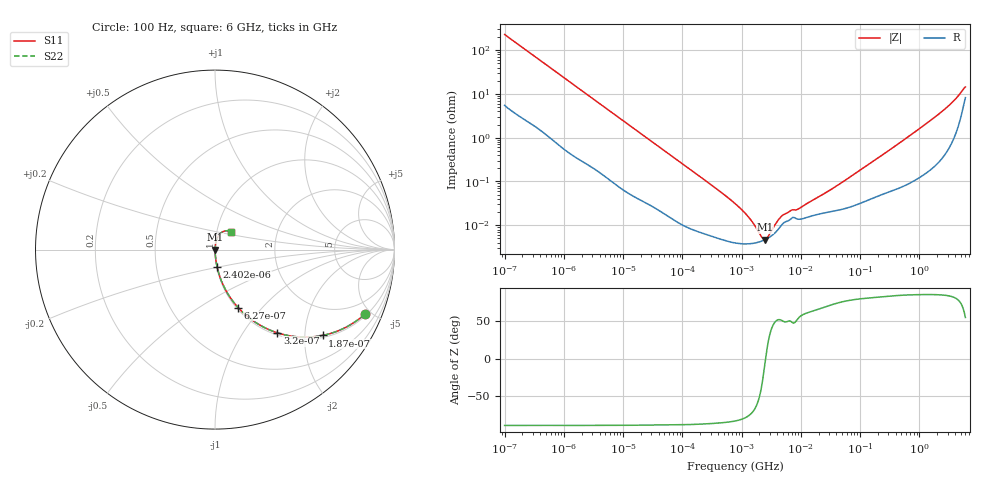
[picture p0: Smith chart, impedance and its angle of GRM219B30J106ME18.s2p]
!Murata Part Number: GRM219B30J106ME18
!These Parameters are Measured in Series Mode Connection
!Data Generated on Mar 30, 2021
!  o--ll--o
!Port1  Port2
!  o------o
!Operation Temp=25[degC], DC Bias Voltage=0[V]
!Freq. Start=100[Hz] Stop=6[GHz] 401[Steps]
# Hz S RI R 50
!Freq.(Hz) S11(Real) S11(Imag) S21(Real) S21(Imag) S12(Real) S12(Imag) S22(Real) S22(Imag)
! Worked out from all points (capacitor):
!   401 points, 100 Hz to 6 GHz, reference 50 ohm
!   read as one part in series: C = 6.95 uF near 109 Hz
!   lowest |Z| = 4.7 mohm at 2.481 MHz (marker M1)
!   series resonance near 2.542 MHz, so ESL is about 560 pH
!   S11 on the Smith chart (normalised r, x): 100 Hz: 1.11, -4.56; 187 Hz: 1.06, -2.46; 320 Hz: 1.04, -1.45; 627 Hz: 1.02, -0.75; 2.402 kHz: 1.01, -0.20; 6 GHz: 1.16, +0.24
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100  0.8331 -0.3611  0.1669 0.3611  0.1669 0.3611  0.8331 -0.3611
187  0.5992 -0.4782  0.4008 0.4782  0.4008 0.4782  0.5992 -0.4782
320  0.3478 -0.4637  0.6522 0.4637  0.6522 0.4637  0.3478 -0.4637
627  0.1289 -0.3232  0.8711 0.3232  0.8711 0.3232  0.1289 -0.3232
1026  0.0549 -0.2165  0.9451 0.2165  0.9451 0.2165  0.0549 -0.2165
2008  0.0167 -0.1164  0.9833 0.1164  0.9833 0.1164  0.0167 -0.1164
2402  0.0122 -0.098  0.9878 0.098  0.9878 0.098  0.0122 -0.098
7358  0.00196 -0.033  0.998 0.033  0.998 0.033  0.00196 -0.033
40335  0.000256 -0.00622  0.9997 0.00622  0.9997 0.00622  0.000256 -0.00622
774597  3.95e-05 -0.000311  1 0.000311  1 0.000311  3.95e-05 -0.000311
1658239  3.91e-05 -9.23e-05  1 9.23e-05  1 9.23e-05  3.91e-05 -9.23e-05
2481164  4.67e-05 -5e-06  1 5e-06  1 5e-06  4.67e-05 -5e-06
3549919  6.43e-05 7.04e-05  0.9999 -7.04e-05  0.9999 -7.04e-05  6.43e-05 7.04e-05
5079039  0.000112 0.000133  0.9999 -0.000133  0.9999 -0.000133  0.000112 0.000133
6948629  0.000144 0.000168  0.9999 -0.000168  0.9999 -0.000168  0.000144 0.000168
9090158  0.000137 0.000192  0.9999 -0.000192  0.9999 -0.000192  0.000137 0.000192
1.555665e7  0.000164 0.000329  0.9998 -0.000329  0.9998 -0.000329  0.000164 0.000329
4.165952e7  0.00022 0.000787  0.9998 -0.000787  0.9998 -0.000787  0.00022 0.000787
3.124326e8  0.000605 0.00517  0.9994 -0.00517  0.9994 -0.00517  0.000605 0.00517
2.240541e9  0.00428 0.0362  0.9957 -0.0362  0.9957 -0.0362  0.00428 0.0362
4.193612e9  0.0188 0.076  0.9812 -0.076  0.9812 -0.076  0.0188 0.076
6e9  0.087 0.0999  0.913 -0.0999  0.913 -0.0999  0.087 0.0999
